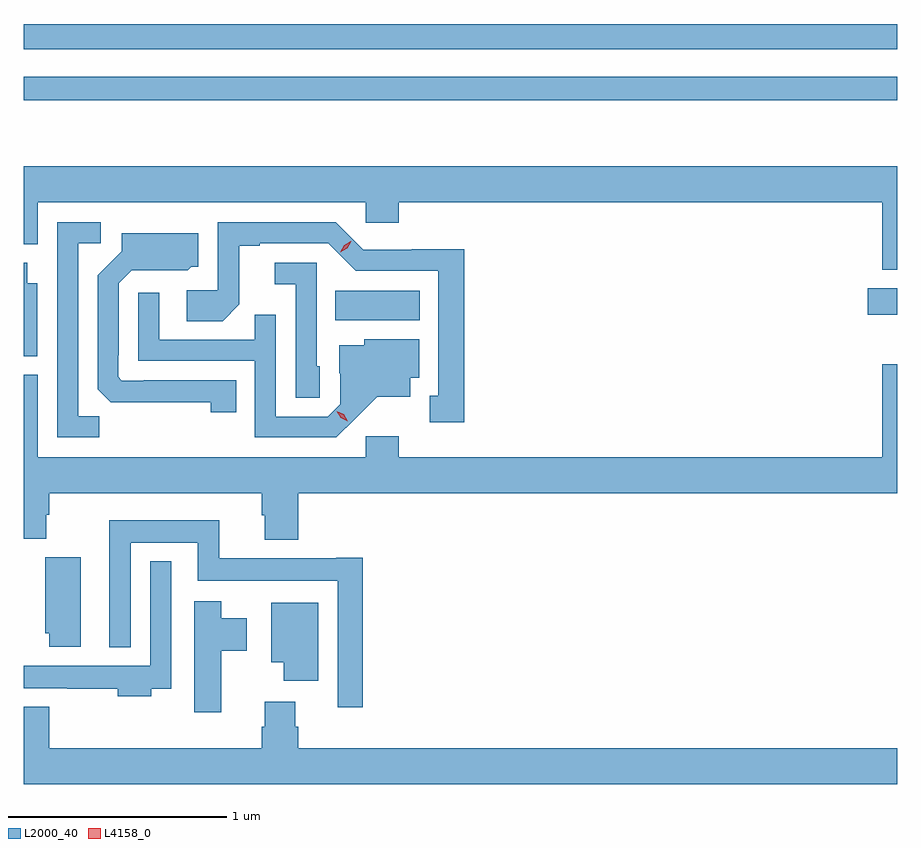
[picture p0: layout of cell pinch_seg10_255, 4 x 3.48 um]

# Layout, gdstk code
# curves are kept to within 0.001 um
import gdstk
lib = gdstk.Library(unit=1e-6, precision=1e-09)
def R(c, l, rs):  # rectangles x0, y0, x1, y1
    for r in rs: c.add(gdstk.rectangle(r[:2], r[2:], *l))
def P(c, l, *ps):  # polygons
    for p in ps: c.add(gdstk.Polygon(p, *l))
L2000_40 = (2000, 40)
L4158_0 = (4158, 0)

pinch_seg10_255 = lib.new_cell('pinch_seg10_255')
R(pinch_seg10_255, L2000_40, [(529.42,1309.1,529.807,1309.234), (531.858,1309.124,531.994,1309.246), (527.994,1310.106,531.994,1310.214), (527.994,1310.34,531.994,1310.456)])
P(pinch_seg10_255, L2000_40, [(531.994,1309.804),(527.994,1309.804),(527.994,1309.448),(528.058,1309.448),(528.058,1309.64),(529.56,1309.64),(529.56,1309.547),(529.712,1309.547),(529.712,1309.64),(531.926,1309.64),(531.926,1309.331),(531.994,1309.331)],
  [(530.011,1309.424),(529.77,1309.424),(529.77,1309.422),(529.548,1309.422),(529.422,1309.548),(528.882,1309.548),(528.882,1309.236),(528.741,1309.236),(528.741,1309.096),(528.905,1309.096),(528.981,1309.172),(528.981,1309.44),(529.075,1309.44),(529.075,1309.452),(529.389,1309.452),(529.515,1309.326),(529.892,1309.326),(529.892,1308.753),(529.853,1308.753),(529.853,1308.633),(530.011,1308.633)],
  [(528.339,1308.659),(528.243,1308.659),(528.243,1309.452),(528.346,1309.452),(528.346,1309.548),(528.147,1309.548),(528.147,1308.564),(528.339,1308.564)],
  [(528.968,1308.825),(528.544,1308.825),(528.544,1308.822),(528.444,1308.822),(528.426,1308.84),(528.426,1308.94),(528.429,1308.94),(528.429,1309.269),(528.489,1309.329),(528.746,1309.328),(528.762,1309.344),(528.793,1309.344),(528.793,1309.498),(528.443,1309.498),(528.443,1309.416),(528.333,1309.306),(528.333,1308.784),(528.392,1308.725),(528.85,1308.724),(528.85,1308.678),(528.968,1308.678)],
  [(528.055,1309.27),(528.01,1309.27),(528.01,1309.363),(527.994,1309.363),(527.994,1308.935),(528.055,1308.935)],
  [(529.35,1308.888),(529.335,1308.888),(529.335,1309.362),(529.143,1309.362),(529.143,1309.265),(529.239,1309.265),(529.239,1308.745),(529.35,1308.745)],
  [(529.51,1308.647),(529.613,1308.749),(529.765,1308.749),(529.765,1308.836),(529.804,1308.836),(529.804,1309.012),(529.554,1309.012),(529.554,1308.985),(529.439,1308.985),(529.439,1308.856),(529.443,1308.856),(529.443,1308.714),(529.386,1308.657),(529.149,1308.657),(529.149,1309.124),(529.051,1309.124),(529.051,1309.011),(528.615,1309.011),(528.615,1309.225),(528.519,1309.225),(528.519,1308.915),(529.053,1308.915),(529.053,1308.564),(529.426,1308.564)],
  [(528.058,1308.85),(527.994,1308.85),(527.994,1308.1),(528.097,1308.1),(528.097,1308.209),(528.11,1308.209),(528.11,1308.308),(529.085,1308.308),(529.085,1308.207),(529.097,1308.207),(529.097,1308.095),(529.25,1308.095),(529.25,1308.308),(531.994,1308.308),(531.994,1308.898),(531.926,1308.898),(531.926,1308.472),(529.712,1308.472),(529.712,1308.568),(529.56,1308.568),(529.56,1308.472),(528.058,1308.472)],
  [(529.547,1308.013),(529.424,1308.013),(529.424,1308.01),(528.89,1308.01),(528.89,1308.184),(528.386,1308.184),(528.386,1307.603),(528.483,1307.603),(528.483,1308.08),(528.792,1308.08),(528.792,1307.906),(529.431,1307.906),(529.431,1307.328),(529.547,1307.328)],
  [(528.256,1308.015),(528.092,1308.015),(528.092,1307.667),(528.11,1307.667),(528.11,1307.604),(528.256,1307.604)],
  [(528.577,1307.412),(528.669,1307.412),(528.669,1307.995),(528.573,1307.995),(528.573,1307.518),(527.994,1307.518),(527.994,1307.414),(528.193,1307.414),(528.193,1307.412),(528.425,1307.412),(528.425,1307.378),(528.577,1307.378)],
  [(528.898,1307.587),(529.015,1307.587),(529.015,1307.734),(528.898,1307.734),(528.898,1307.812),(528.776,1307.812),(528.776,1307.304),(528.898,1307.304)],
  [(529.342,1307.806),(529.127,1307.806),(529.127,1307.534),(529.184,1307.534),(529.184,1307.448),(529.342,1307.448)],
  [(531.994,1307.14),(529.25,1307.14),(529.25,1307.238),(529.237,1307.238),(529.237,1307.353),(529.097,1307.353),(529.097,1307.238),(529.085,1307.238),(529.085,1307.14),(528.11,1307.14),(528.11,1307.329),(527.994,1307.329),(527.994,1306.976),(531.994,1306.976)])
P(pinch_seg10_255, L4158_0, [(529.443,1309.412),(529.443,1309.412),(529.461,1309.444),(529.492,1309.462),(529.493,1309.462),(529.493,1309.462),(529.475,1309.43),(529.443,1309.412)],
  [(529.477,1308.638),(529.446,1308.653),(529.428,1308.682),(529.428,1308.683),(529.428,1308.683),(529.459,1308.668),(529.477,1308.638),(529.477,1308.638)])

lib.write_gds('pinch_seg10_255.gds')
